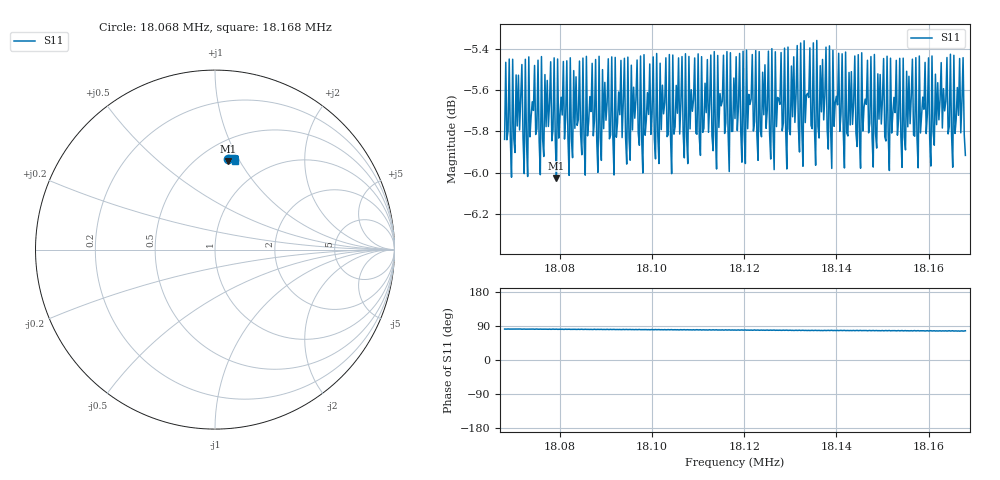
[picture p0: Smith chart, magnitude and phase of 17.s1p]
# Hz S RI R 50
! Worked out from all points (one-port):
!   401 points, 18.068 MHz to 18.168 MHz, reference 50 ohm
!   lowest |S11| = -6.0 dB at 18.0792 MHz (marker M1), VSWR 3.00, Z = 34.1 + j44.9 ohm
!   |S11| at or under -10 dB: nowhere
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1.8068e7  0.074 0.5052
1.807925e7  0.0744 0.4941
1.80805e7  0.0785 0.5116
1.808225e7  0.085 0.5276
1.808375e7  0.083 0.5078
1.8085e7  0.0863 0.5273
1.808725e7  0.0832 0.5048
1.80885e7  0.0875 0.5277
1.809e7  0.0859 0.5089
1.809125e7  0.0892 0.5272
1.8093e7  0.0841 0.5108
1.809475e7  0.0911 0.5268
1.809625e7  0.0891 0.5089
1.80975e7  0.0924 0.5269
1.81055e7  0.0906 0.5101
1.8118e7  0.0966 0.5075
1.811975e7  0.1044 0.5261
1.812475e7  0.1014 0.5036
1.8126e7  0.1075 0.5263
1.81305e7  0.1042 0.5065
1.8143e7  0.1082 0.5032
1.81555e7  0.1133 0.5016
1.81595e7  0.1159 0.499
1.816075e7  0.124 0.5204
1.816425e7  0.1182 0.4983
1.81655e7  0.1267 0.52
1.8167e7  0.1197 0.4983
1.8168e7  0.1133 0.4932
